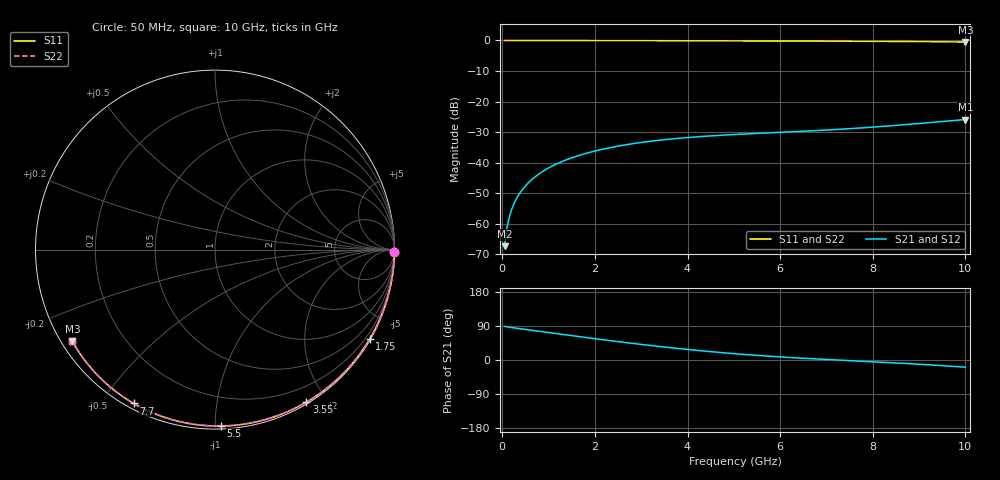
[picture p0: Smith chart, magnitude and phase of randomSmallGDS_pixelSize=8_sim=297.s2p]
! freq	dB(S11)	phase(S11)	dB(S12)	phase(S12)
!  dB(S21)	phase(S21)	dB(S22)	phase(S22)
!S-par simulation data
#  GHz  S  DB  R 50
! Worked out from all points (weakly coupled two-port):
!   200 points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, 50 MHz to 10 GHz, reference 50 ohm
!   highest |S21| = -25.89 dB at 10 GHz (marker M1); lowest = -67.4 dB at 50 MHz (marker M2)
!   lowest |S11| = -0.5 dB at 10 GHz (marker M3), VSWR 35.39, Z = 1.53 - j14.7 ohm
!   |S11| at or under -10 dB: nowhere
!   |S22| runs from -0.5 to 0.0 dB; largest |S21 - S12| = 0
!   S11 on the Smith chart (normalised r, x): 50 MHz: open; 1.75 GHz: 0.03, -3.74; 3.55 GHz: 0.02, -1.76; 5.5 GHz: 0.02, -1.03; 7.7 GHz: 0.02, -0.60; 10 GHz: 0.03, -0.29
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0.05  -0.00 -0.9  -67.38 88.7  -67.38 88.7  -0.00 -0.9
0.1  -0.00 -1.7  -61.40 87.6  -61.40 87.6  -0.00 -1.7
0.15  -0.00 -2.6  -57.92 86.5  -57.92 86.5  -0.00 -2.6
0.2  -0.00 -3.5  -55.46 85.6  -55.46 85.6  -0.00 -3.5
0.25  -0.00 -4.4  -53.56 84.8  -53.56 84.8  -0.00 -4.4
0.35  -0.00 -6.1  -50.68 83.2  -50.68 83.2  -0.00 -6.1
0.5  -0.01 -8.7  -47.64 80.8  -47.64 80.8  -0.01 -8.7
0.7  -0.01 -12.1  -44.77 77.5  -44.77 77.5  -0.01 -12.1
1  -0.02 -17.3  -41.76 72.5  -41.76 72.5  -0.02 -17.3
1.35  -0.03 -23.2  -39.29 66.7  -39.29 66.7  -0.03 -23.2
1.75  -0.04 -30.0  -37.23 60.2  -37.23 60.2  -0.04 -30.0
2.5  -0.06 -42.4  -34.60 48.4  -34.60 48.4  -0.06 -42.4
3.4  -0.08 -56.8  -32.66 35.5  -32.66 35.5  -0.08 -56.7
3.55  -0.08 -59.1  -32.42 33.5  -32.42 33.5  -0.08 -59.1
4.3  -0.10 -70.6  -31.46 24.3  -31.46 24.3  -0.10 -70.6
5.05  -0.13 -81.6  -30.77 16.3  -30.77 16.3  -0.13 -81.6
5.5  -0.14 -88.1  -30.44 12.2  -30.44 12.2  -0.14 -88.1
6.7  -0.20 -104.6  -29.58 3.3  -29.58 3.3  -0.20 -104.6
7.7  -0.27 -117.8  -28.70 -2.7  -28.70 -2.7  -0.27 -117.8
8.35  -0.32 -126.2  -27.99 -6.7  -27.99 -6.7  -0.32 -126.2
9.2  -0.40 -137.1  -26.94 -12.6  -26.94 -12.6  -0.40 -137.1
10  -0.49 -147.3  -25.89 -19.0  -25.89 -19.0  -0.49 -147.2
